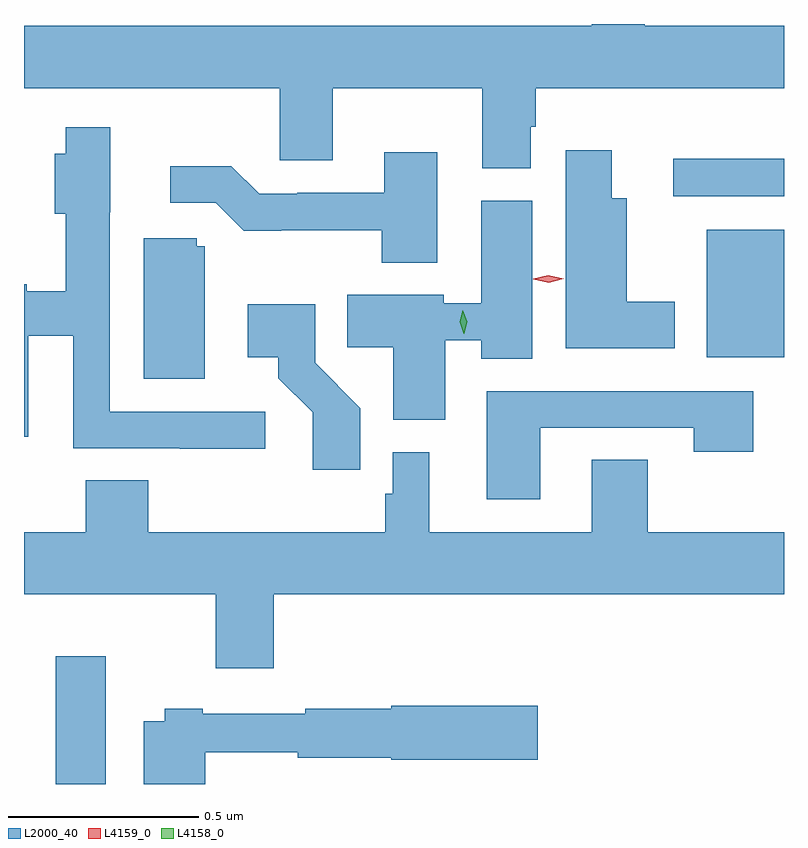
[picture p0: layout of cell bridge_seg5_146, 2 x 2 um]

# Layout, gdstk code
import gdstk
lib = gdstk.Library(unit=1e-6, precision=1e-09)
def R(c, l, rs):  # rectangles x0, y0, x1, y1
    for r in rs: c.add(gdstk.rectangle(r[:2], r[2:], *l))
def P(c, l, *ps):  # polygons
    for p in ps: c.add(gdstk.Polygon(p, *l))
L2000_40 = (2000, 40)
L4158_0 = (4158, 0)
L4159_0 = (4159, 0)

bridge_seg5_146 = lib.new_cell('bridge_seg5_146')
R(bridge_seg5_146, L2000_40, [(249.713,906.877,249.844,907.213), (251.426,908,251.629,908.335), (251.337,908.424,251.629,908.522)])
P(bridge_seg5_146, L2000_40, [(250.963,908.607),(250.976,908.607),(250.976,908.708),(251.629,908.708),(251.629,908.872),(251.263,908.872),(251.263,908.877),(251.123,908.877),(251.123,908.872),(249.629,908.872),(249.629,908.708),(250.302,908.708),(250.302,908.518),(250.441,908.518),(250.441,908.708),(250.835,908.708),(250.835,908.497),(250.963,908.497)],
  [(250.264,907.857),(249.855,907.857),(249.855,908.382),(249.856,908.382),(249.856,908.605),(249.739,908.605),(249.739,908.536),(249.71,908.536),(249.71,908.378),(249.739,908.378),(249.739,908.174),(249.636,908.174),(249.636,908.192),(249.629,908.192),(249.629,907.791),(249.64,907.791),(249.64,908.056),(249.759,908.056),(249.759,907.761),(250.039,907.761),(250.039,907.759),(250.264,907.759)],
  [(251.341,908.146),(251.215,908.146),(251.215,908.419),(251.176,908.419),(251.176,908.545),(251.054,908.545),(251.054,908.024),(251.341,908.024)],
  [(250.717,908.539),(250.577,908.539),(250.577,908.433),(250.348,908.433),(250.348,908.43),(250.248,908.43),(250.175,908.503),(250.014,908.503),(250.014,908.406),(250.134,908.406),(250.207,908.333),(250.306,908.333),(250.306,908.334),(250.57,908.334),(250.57,908.249),(250.717,908.249)],
  [(250.738,908.045),(250.832,908.045),(250.832,907.996),(250.966,907.996),(250.966,908.412),(250.832,908.412),(250.832,908.142),(250.734,908.142),(250.734,908.164),(250.48,908.164),(250.48,908.026),(250.601,908.026),(250.601,907.835),(250.738,907.835)],
  [(250.105,908.292),(250.083,908.292),(250.083,908.313),(249.944,908.313),(249.944,907.944),(250.105,907.944)],
  [(250.514,907.866),(250.395,907.985),(250.395,908.14),(250.218,908.14),(250.218,908),(250.298,908),(250.298,907.945),(250.389,907.855),(250.389,907.704),(250.514,907.704)],
  [(250.987,907.815),(251.392,907.815),(251.392,907.752),(251.548,907.752),(251.548,907.911),(250.847,907.911),(250.847,907.626),(250.987,907.626)],
  [(250.286,907.376),(251.629,907.376),(251.629,907.54),(251.271,907.54),(251.271,907.73),(251.123,907.73),(251.123,907.54),(250.696,907.54),(250.696,907.75),(250.599,907.75),(250.599,907.641),(250.579,907.641),(250.579,907.54),(249.956,907.54),(249.956,907.676),(249.791,907.676),(249.791,907.54),(249.629,907.54),(249.629,907.376),(250.133,907.376),(250.133,907.182),(250.286,907.182)],
  [(250.106,906.961),(250.35,906.961),(250.35,906.946),(250.596,906.946),(250.596,906.941),(250.981,906.941),(250.981,907.083),(250.596,907.083),(250.596,907.075),(250.369,907.075),(250.369,907.062),(250.099,907.062),(250.099,907.075),(249.999,907.075),(249.999,907.042),(249.944,907.042),(249.944,906.877),(250.106,906.877)])
P(bridge_seg5_146, L4158_0, [(250.786,908.062),(250.776,908.093),(250.784,908.124),(250.784,908.124),(250.784,908.124),(250.795,908.094),(250.787,908.062),(250.787,908.062)])
P(bridge_seg5_146, L4159_0, [(251.01,908.196),(250.969,908.205),(250.969,908.206),(250.969,908.206),(251.009,908.216),(251.05,908.206),(251.05,908.206),(251.05,908.206)])

lib.write_gds('bridge_seg5_146.gds')
